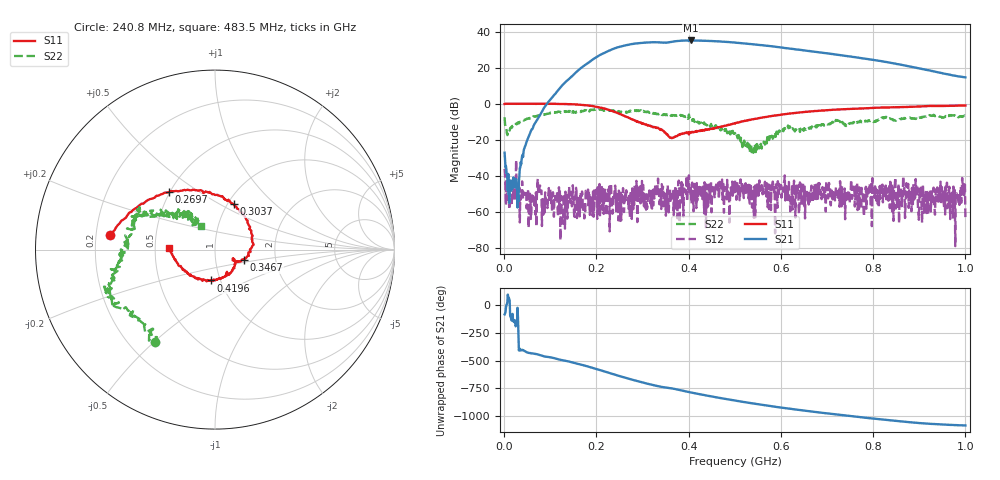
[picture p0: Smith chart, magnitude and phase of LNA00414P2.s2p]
! Created with skrf 1.9.0 (http://scikit-rf.org).
# Hz S RI R 50.0
!freq ReS11 ImS11 ReS21 ImS21 ReS12 ImS12 ReS22 ImS22
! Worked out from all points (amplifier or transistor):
!   1001 points, 1 MHz to 1 GHz, reference 50 ohm
!   highest |S21| = 35.1 dB at 404.6 MHz (marker M1)
!   |S21| within 3 dB of that: 257.8 MHz to 571.7 MHz (313.9 MHz wide, 75.7 % of centre)
!   unconditionally stable (mu >= 1): 239.8 MHz to 286.5 MHz; 298.9 MHz to 395.6 MHz; 400.8 MHz to end of sweep (the widest 3 of 39)
!   at 166.8 MHz: K = 1.68, MAG = 32.6 dB, |S12| = -55.1 dB
!   at 500.5 MHz: K = 1.43, MAG = 34.4 dB, |S12| = -42.5 dB
!   at 1 GHz: K = 20.24, MAG = 22.8 dB, |S12| = -63.2 dB
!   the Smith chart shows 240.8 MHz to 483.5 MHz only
!   S11 on the Smith chart (normalised r, x): 240.8 MHz: 0.26, +0.06; 269.7 MHz: 0.50, +0.38; 303.7 MHz: 1.07, +0.58; 346.7 MHz: 1.37, -0.16; 419.6 MHz: 0.90, -0.32; 483.5 MHz: 0.59, +0.01
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1000000  0.9852 0.0116  0.00576 -0.0434  -0.0141 -0.00629  0.2995 0.2965
1.08892e8  0.5322 -0.84  -0.8337 -1.564  0.00233 0.000986  0.4244 -0.3889
1.67833e8  -0.2084 -0.9069  -10.07 -0.5149  0.00128 -0.00038  0.0265 -0.6381
2.08792e8  -0.6505 -0.4348  -15.83 16.48  -0.00265 -0.000916  -0.22 -0.6495
2.4076e8  -0.584 0.0814  -1.968 34.81  -0.00433 0.00314  -0.3326 -0.5127
2.69731e8  -0.2552 0.321  23.23 36.6  -0.00073 -0.000972  -0.4971 -0.3208
3.03697e8  0.1051 0.2525  46.67 16.34  0.00203 0.00248  -0.5656 -0.1621
3.34666e8  0.2077 0.0195  49.66 -9.741  -0.00229 0.00315  -0.511 -0.0182
3.46654e8  0.1609 -0.0573  46.52 -17.1  -0.000776 0.00274  -0.4936 0.0177
3.73627e8  0.1084 -0.0621  42.9 -34.35  -0.000588 0.00104  -0.4232 0.1798
4.04596e8  0.0454 -0.1558  22.57 -52.36  0.00241 0.00376  -0.33 0.1946
4.19581e8  -0.0242 -0.172  10.63 -55.56  0.00222 0.00348  -0.2541 0.186
4.49551e8  -0.1514 -0.1336  -12.34 -53.44  -0.000823 0.000518  -0.1279 0.1968
4.83517e8  -0.2567 0.00917  -32.14 -40.82  0.00737 0.00228  -0.076 0.1318
5.005e8  -0.2638 0.0943  -38.3 -32.22  -0.00342 -0.00665  -0.1091 0.1091
5.4046e8  -0.2271 0.297  -43.3 -10.22  -0.00307 -0.00257  -0.0396 -0.0187
5.88412e8  -0.0469 0.4701  -36.59 10.8  0.00252 0.0012  -0.1024 -0.0635
6.67333e8  0.3192 0.527  -14.36 24.24  -0.000966 -0.00332  -0.2273 -0.057
7.53247e8  0.6205 0.3696  3.808 19.8  -0.00241 -0.00309  -0.2864 -0.000263
8.34166e8  0.7757 0.1466  10.16 9.531  -0.00307 -0.00239  -0.3901 0.0284
9.09091e8  0.8429 -0.1034  8.785 2.217  -0.00121 -0.00103  -0.3792 0.2105
1e9  0.8136 -0.3768  5.386 -0.4081  0.000428 0.000545  -0.2991 0.3595
